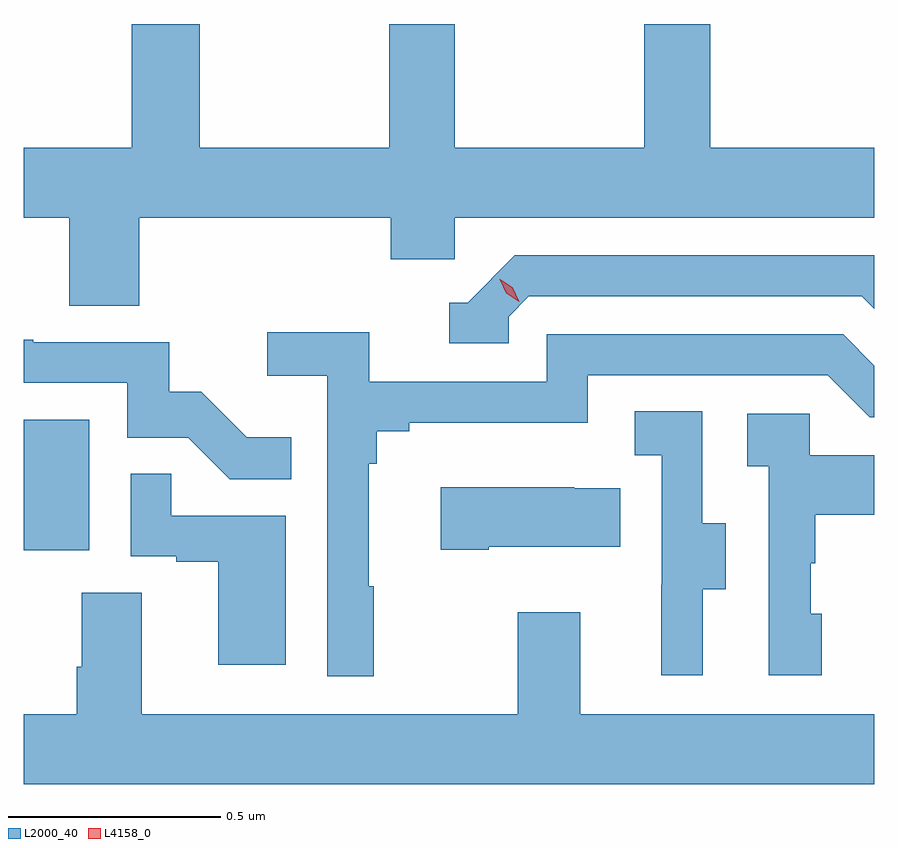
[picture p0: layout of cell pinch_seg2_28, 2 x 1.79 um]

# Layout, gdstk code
import gdstk
lib = gdstk.Library(unit=1e-6, precision=1e-09)
def R(c, l, rs):  # rectangles x0, y0, x1, y1
    for r in rs: c.add(gdstk.rectangle(r[:2], r[2:], *l))
def P(c, l, *ps):  # polygons
    for p in ps: c.add(gdstk.Polygon(p, *l))
L2000_40 = (2000, 40)
L4158_0 = (4158, 0)

pinch_seg2_28 = lib.new_cell('pinch_seg2_28')
R(pinch_seg2_28, L2000_40, [(1089.96,654.846,1090.114,655.153)])
P(pinch_seg2_28, L2000_40, [(1090.232,655.628),(1090.823,655.628),(1090.823,655.53),(1090.974,655.53),(1090.974,655.628),(1091.96,655.628),(1091.96,655.792),(1091.574,655.792),(1091.574,656.083),(1091.419,656.083),(1091.419,655.792),(1090.974,655.792),(1090.974,656.083),(1090.819,656.083),(1090.819,655.792),(1090.374,655.792),(1090.374,656.083),(1090.214,656.083),(1090.214,655.792),(1089.96,655.792),(1089.96,655.628),(1090.067,655.628),(1090.067,655.42),(1090.232,655.42)],
  [(1091.1,655.395),(1091.148,655.443),(1091.931,655.443),(1091.96,655.414),(1091.96,655.539),(1091.115,655.539),(1091.004,655.428),(1090.961,655.428),(1090.961,655.332),(1091.1,655.332)],
  [(1090.783,654.761),(1090.771,654.761),(1090.771,655.049),(1090.79,655.049),(1090.79,655.126),(1090.867,655.126),(1090.867,655.145),(1091.286,655.145),(1091.286,655.257),(1091.85,655.257),(1091.949,655.158),(1091.96,655.158),(1091.96,655.28),(1091.887,655.353),(1091.19,655.353),(1091.19,655.242),(1090.772,655.242),(1090.772,655.358),(1090.533,655.358),(1090.533,655.256),(1090.674,655.256),(1090.674,654.549),(1090.783,654.549)],
  [(1090.589,655.111),(1090.485,655.111),(1090.378,655.218),(1090.302,655.218),(1090.302,655.335),(1089.983,655.335),(1089.983,655.34),(1089.96,655.34),(1089.96,655.239),(1090.203,655.239),(1090.203,655.11),(1090.347,655.11),(1090.445,655.012),(1090.589,655.012)],
  [(1091.557,654.754),(1091.611,654.754),(1091.611,654.909),(1091.556,654.909),(1091.556,655.172),(1091.397,655.172),(1091.397,655.069),(1091.46,655.069),(1091.46,654.765),(1091.459,654.765),(1091.459,654.552),(1091.557,654.552)],
  [(1091.836,654.696),(1091.811,654.696),(1091.811,654.815),(1091.821,654.815),(1091.821,654.929),(1091.96,654.929),(1091.96,655.069),(1091.808,655.069),(1091.808,655.167),(1091.661,655.167),(1091.661,655.043),(1091.712,655.043),(1091.712,654.552),(1091.836,654.552)],
  [(1090.576,654.927),(1090.307,654.927),(1090.307,655.025),(1090.212,655.025),(1090.212,654.831),(1090.319,654.831),(1090.319,654.819),(1090.418,654.819),(1090.418,654.576),(1090.576,654.576)],
  [(1091.053,654.854),(1091.363,654.854),(1091.363,654.991),(1091.255,654.991),(1091.255,654.994),(1090.941,654.994),(1090.941,654.847),(1091.053,654.847)],
  [(1091.96,654.46),(1091.269,654.46),(1091.269,654.7),(1091.122,654.7),(1091.122,654.46),(1090.237,654.46),(1090.237,654.746),(1090.097,654.746),(1090.097,654.572),(1090.085,654.572),(1090.085,654.46),(1089.96,654.46),(1089.96,654.296),(1091.96,654.296)])
P(pinch_seg2_28, L4158_0, [(1091.125,655.43),(1091.095,655.45),(1091.079,655.483),(1091.079,655.483),(1091.08,655.483),(1091.11,655.463),(1091.125,655.43),(1091.125,655.43)])

lib.write_gds('pinch_seg2_28.gds')
